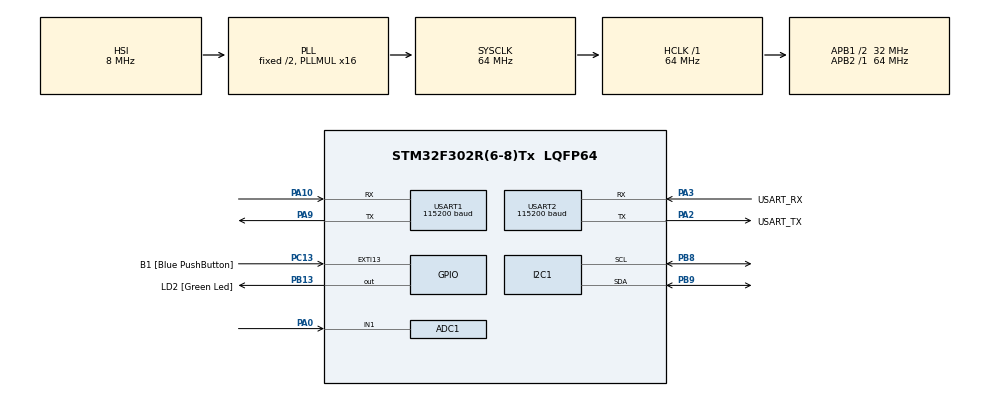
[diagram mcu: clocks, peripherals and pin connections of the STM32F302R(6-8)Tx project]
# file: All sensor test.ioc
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ADC1.Channel-0\#ChannelRegularConversion=ADC_CHANNEL_1
ADC1.NbrOfConversionFlag=1
ADC1.Offset-0\#ChannelRegularConversion=0
ADC1.OffsetNumber-0\#ChannelRegularConversion=ADC_OFFSET_NONE
ADC1.Rank-0\#ChannelRegularConversion=1
ADC1.SamplingTime-0\#ChannelRegularConversion=ADC_SAMPLETIME_1CYCLE_5
ADC1.SamplingTimeOPAMP-0\#ChannelRegularConversion=ADC_SAMPLETIME_61CYCLES_5
ADC1.SubFamily=STM32F302x8
ADC1.master=1
I2C1.Timing=0x00201D2B
Mcu.Family=STM32F3
Mcu.Name=STM32F302R(6-8)Tx
Mcu.Package=LQFP64
NVIC.PriorityGroup=NVIC_PRIORITYGROUP_0
NVIC.USART1_IRQn=true\:0\:0\:false\:false\:true\:true\:true\:true
NVIC.USART2_IRQn=true\:0\:0\:false\:false\:true\:true\:true\:true
PA0.Mode=IN1-Single-Ended
PA0.Signal=ADC1_IN1
PA10.Mode=Asynchronous
PA10.Signal=USART1_RX
PA13.GPIO_Label=TMS
PA13.Mode=Serial_Wire
PA13.Signal=SYS_JTMS-SWDIO
PA14.GPIO_Label=TCK
PA14.Mode=Serial_Wire
PA14.Signal=SYS_JTCK-SWCLK
PA2.GPIO_Label=USART_TX
PA2.GPIO_Mode=GPIO_MODE_AF_PP
PA2.GPIO_PuPd=GPIO_NOPULL
PA2.GPIO_Speed=GPIO_SPEED_FREQ_LOW
PA2.Mode=Asynchronous
PA2.Signal=USART2_TX
PA3.GPIO_Label=USART_RX
PA3.GPIO_Mode=GPIO_MODE_AF_PP
PA3.GPIO_PuPd=GPIO_NOPULL
PA3.GPIO_Speed=GPIO_SPEED_FREQ_LOW
PA3.Mode=Asynchronous
PA3.Signal=USART2_RX
PA9.Mode=Asynchronous
PA9.Signal=USART1_TX
PB13.GPIO_Label=LD2 [Green Led]
PB13.Signal=GPIO_Output
PB3.GPIO_Label=SWO
PB3.Mode=Trace_Asynchronous_SW
PB3.Signal=SYS_JTDO-TRACESWO
PB8.Mode=I2C
PB8.Signal=I2C1_SCL
PB9.Mode=I2C
PB9.Signal=I2C1_SDA
PC13.GPIO_Label=B1 [Blue PushButton]
PC13.GPIO_ModeDefaultEXTI=GPIO_MODE_IT_FALLING
PC13.Signal=GPXTI13
PC14\ -\ OSC32_IN.Mode=LSE-External-Oscillator
PC14\ -\ OSC32_IN.Signal=RCC_OSC32_IN
PC15\ -\ OSC32_OUT.Mode=LSE-External-Oscillator
PC15\ -\ OSC32_OUT.Signal=RCC_OSC32_OUT
PF0-OSC_IN.Mode=HSE-External-Clock-Source
PF0-OSC_IN.Signal=RCC_OSC_IN
PF1-OSC_OUT.Signal=RCC_OSC_OUT
ProjectManager.HeapSize=0x200
ProjectManager.StackSize=0x400
ProjectManager.TargetToolchain=STM32CubeIDE
RCC.AHBFreq_Value=64000000
RCC.APB1CLKDivider=RCC_HCLK_DIV2
RCC.APB1Freq_Value=32000000
RCC.APB1TimFreq_Value=64000000
RCC.APB2Freq_Value=64000000
RCC.APB2TimFreq_Value=64000000
RCC.CortexFreq_Value=64000000
RCC.HCLKFreq_Value=64000000
RCC.HSE_VALUE=8000000
RCC.HSI_VALUE=8000000
RCC.PLLM=8
RCC.PLLMUL=RCC_PLL_MUL16
RCC.PLLN=336
RCC.PLLP=RCC_PLLP_DIV4
RCC.PLLQ=7
RCC.RCC_PLLsource_Clock_Source_FROM_HSE=RCC_HSE_PREDIV_DIV2
RCC.SYSCLKFreq_VALUE=64000000
RCC.SYSCLKSourceVirtual=RCC_SYSCLKSOURCE_PLLCLK
RCC.USBFreq_Value=64000000
USART1.BaudRate=115200
USART1.VirtualMode-Asynchronous=VM_ASYNC
USART2.BaudRate=115200
USART2.VirtualMode-Asynchronous=VM_ASYNC
board=NUCLEO-F302R8

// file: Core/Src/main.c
/* USER CODE BEGIN Header */
/**
  ******************************************************************************
  * @file           : main.c
  * @brief          : RS200 Rain Sensor, BME680 & ADC Wind Sensor Telemetry
  *                   for NUCLEO-F302R8 Board (Modularized)
  ******************************************************************************
  */
/* USER CODE END Header */
#include "main.h"

/* USER CODE BEGIN Includes */
#include <stdio.h>
#include <string.h>
#include "rs200_sensor.h"
#include "bme680_sensor.h"
#include "wind_sensor.h"
/* USER CODE END Includes */

/* USER CODE BEGIN PD */
#define TELEMETRY_BUF_SIZE 256
/* USER CODE END PD */

ADC_HandleTypeDef hadc1;
I2C_HandleTypeDef hi2c1;
UART_HandleTypeDef huart1;
UART_HandleTypeDef huart2;

/* USER CODE BEGIN PV */
char g_telemetry_tx_buf[TELEMETRY_BUF_SIZE];
/* USER CODE END PV */

void SystemClock_Config(void);
static void MX_GPIO_Init(void);
static void MX_I2C1_Init(void);
static void MX_USART1_UART_Init(void);
static void MX_USART2_UART_Init(void);
static void MX_ADC1_Init(void);

/* USER CODE BEGIN PFP */
void Read_Sensors_And_Transmit(void);
/* USER CODE END PFP */

/* USER CODE BEGIN 0 */

/* Read All Sensors and Send Formatted Telemetry Line */
void Read_Sensors_And_Transmit(void) {
    uint8_t n_fields = 0;
    float temp = 0.0f, hum = 0.0f, pres = 0.0f, gas = 0.0f;
    uint8_t bme_valid = 0;

    // Read BME680 via wrapper
    if (g_bme_sensor_ready) {
        bme68x_set_op_mode(BME68X_FORCED_MODE, &bme_dev);
        uint32_t del_period = bme68x_get_meas_dur(BME68X_FORCED_MODE, &bme_conf, &bme_dev) + (bme_heatr_conf.heatr_dur * 1000);
        bme_dev.delay_us(del_period, bme_dev.intf_ptr);

        if (bme68x_get_data(BME68X_FORCED_MODE, &bme_data, &n_fields, &bme_dev) == BME68X_OK && n_fields > 0) {
            temp = bme_data.temperature;
            hum = bme_data.humidity;
            pres = bme_data.pressure / 100.0f;
            gas = bme_data.gas_resistance / 1000.0f;
            bme_valid = 1;
        }
    }

    // Read Wind Speed Sensor from ADC wrapper
    float wind_speed = Read_Wind_Speed(&hadc1);

    // Format Telemetry Line for Raspberry Pi Parser
    snprintf(g_telemetry_tx_buf, sizeof(g_telemetry_tx_buf),
             "BME_VALID:%d,TEMP:%.2f,HUM:%.2f,PRES:%.2f,GAS:%.2f,RAIN_LVL:%u,RAIN_ACT:%u,WIND_SPD:%.2f\r\n",
             bme_valid, temp, hum, pres, gas, rain_sensor.rain_level, rain_sensor.is_raining, wind_speed);

    // Transmit over USART2 (ST-Link USB to Pi)
    HAL_UART_Transmit(&huart2, (uint8_t *)g_telemetry_tx_buf, strlen(g_telemetry_tx_buf), 100);
}
/* USER CODE END 0 */

int main(void)
{

  /* MCU Configuration--------------------------------------------------------*/

  /* Reset of all peripherals, Initializes the Flash interface and the Systick. */
  HAL_Init();

  /* Configure the system clock */
  SystemClock_Config();

  /* Initialize all configured peripherals */
  MX_GPIO_Init();
  MX_I2C1_Init();
  MX_USART1_UART_Init();
  MX_USART2_UART_Init();
  MX_ADC1_Init();

  /* USER CODE BEGIN 2 */
  HAL_NVIC_SetPriorityGrouping(NVIC_PRIORITYGROUP_4);
  HAL_NVIC_SetPriority(USART1_IRQn, 0, 0);
  HAL_NVIC_EnableIRQ(USART1_IRQn);

  if (HAL_ADCEx_Calibration_Start(&hadc1, ADC_SINGLE_ENDED) != HAL_OK)
  {
    Error_Handler();
  }

  Init_BME680(&hi2c1);

  HAL_UART_Receive_IT(&huart1, &rx_byte, 1);
  HAL_Delay(500);
  RS200_Send_Calibration(&huart1);
  /* USER CODE END 2 */

  /* Infinite loop */
  while (1)
  {

    /* USER CODE BEGIN 3 */
    if (packet_ready_flag)
    {
        packet_ready_flag = 0;
        Process_RS200_Packet(rs200_rx_buf);
    }

    Read_Sensors_And_Transmit();
    HAL_GPIO_TogglePin(LD2_GPIO_Port, LD2_Pin);
    HAL_Delay(1000);
  }
  /* USER CODE END 3 */
}

void SystemClock_Config(void)
{
  RCC_OscInitTypeDef RCC_OscInitStruct = {0};
  RCC_ClkInitTypeDef RCC_ClkInitStruct = {0};
  RCC_PeriphCLKInitTypeDef PeriphClkInit = {0};

  RCC_OscInitStruct.OscillatorType = RCC_OSCILLATORTYPE_HSI;
  RCC_OscInitStruct.HSIState = RCC_HSI_ON;
  RCC_OscInitStruct.HSICalibrationValue = RCC_HSICALIBRATION_DEFAULT;
  RCC_OscInitStruct.PLL.PLLState = RCC_PLL_ON;
  RCC_OscInitStruct.PLL.PLLSource = RCC_PLLSOURCE_HSI;
  RCC_OscInitStruct.PLL.PLLMUL = RCC_PLL_MUL16;
  if (HAL_RCC_OscConfig(&RCC_OscInitStruct) != HAL_OK)
  {
    Error_Handler();
  }

  RCC_ClkInitStruct.ClockType = RCC_CLOCKTYPE_HCLK|RCC_CLOCKTYPE_SYSCLK
                              |RCC_CLOCKTYPE_PCLK1|RCC_CLOCKTYPE_PCLK2;
  RCC_ClkInitStruct.SYSCLKSource = RCC_SYSCLKSOURCE_PLLCLK;
  RCC_ClkInitStruct.AHBCLKDivider = RCC_SYSCLK_DIV1;
  RCC_ClkInitStruct.APB1CLKDivider = RCC_HCLK_DIV2;
  RCC_ClkInitStruct.APB2CLKDivider = RCC_HCLK_DIV1;

  if (HAL_RCC_ClockConfig(&RCC_ClkInitStruct, FLASH_LATENCY_2) != HAL_OK)
  {
    Error_Handler();
  }
  PeriphClkInit.PeriphClockSelection = RCC_PERIPHCLK_USART1|RCC_PERIPHCLK_I2C1
                              |RCC_PERIPHCLK_ADC1;
  PeriphClkInit.Usart1ClockSelection = RCC_USART1CLKSOURCE_PCLK1;
  PeriphClkInit.I2c1ClockSelection = RCC_I2C1CLKSOURCE_HSI;
  PeriphClkInit.Adc1ClockSelection = RCC_ADC1PLLCLK_DIV1;

  if (HAL_RCCEx_PeriphCLKConfig(&PeriphClkInit) != HAL_OK)
  {
    Error_Handler();
  }
}

static void MX_ADC1_Init(void)
{
  ADC_ChannelConfTypeDef sConfig = {0};

  hadc1.Instance = ADC1;
  hadc1.Init.ClockPrescaler = ADC_CLOCK_ASYNC_DIV1;
  hadc1.Init.Resolution = ADC_RESOLUTION_12B;
  hadc1.Init.ScanConvMode = ADC_SCAN_DISABLE;
  hadc1.Init.ContinuousConvMode = DISABLE;
  hadc1.Init.DiscontinuousConvMode = DISABLE;
  hadc1.Init.ExternalTrigConvEdge = ADC_EXTERNALTRIGCONVEDGE_NONE;
  hadc1.Init.ExternalTrigConv = ADC_SOFTWARE_START;
  hadc1.Init.DataAlign = ADC_DATAALIGN_RIGHT;
  hadc1.Init.NbrOfConversion = 1;
  hadc1.Init.DMAContinuousRequests = DISABLE;
  hadc1.Init.EOCSelection = ADC_EOC_SINGLE_CONV;
  hadc1.Init.LowPowerAutoWait = DISABLE;
  hadc1.Init.Overrun = ADC_OVR_DATA_OVERWRITTEN;
  if (HAL_ADC_Init(&hadc1) != HAL_OK)
  {
    Error_Handler();
  }

  sConfig.Channel = ADC_CHANNEL_1;
  sConfig.Rank = ADC_REGULAR_RANK_1;
  sConfig.SingleDiff = ADC_SINGLE_ENDED;
  sConfig.SamplingTime = ADC_SAMPLETIME_61CYCLES_5;
  sConfig.OffsetNumber = ADC_OFFSET_NONE;
  sConfig.Offset = 0;
  if (HAL_ADC_ConfigChannel(&hadc1, &sConfig) != HAL_OK)
  {
    Error_Handler();
  }
}

static void MX_I2C1_Init(void)
{
  hi2c1.Instance = I2C1;
  hi2c1.Init.Timing = 0x00303D5B;
  hi2c1.Init.OwnAddress1 = 0;
  hi2c1.Init.AddressingMode = I2C_ADDRESSINGMODE_7BIT;
  hi2c1.Init.DualAddressMode = I2C_DUALADDRESS_DISABLE;
  hi2c1.Init.OwnAddress2 = 0;
  hi2c1.Init.OwnAddress2Masks = I2C_OA2_NOMASK;
  hi2c1.Init.GeneralCallMode = I2C_GENERALCALL_DISABLE;
  hi2c1.Init.NoStretchMode = I2C_NOSTRETCH_DISABLE;
  if (HAL_I2C_Init(&hi2c1) != HAL_OK)
  {
    Error_Handler();
  }

  if (HAL_I2CEx_ConfigAnalogFilter(&hi2c1, I2C_ANALOGFILTER_ENABLE) != HAL_OK)
  {
    Error_Handler();
  }

  if (HAL_I2CEx_ConfigDigitalFilter(&hi2c1, 0) != HAL_OK)
  {
    Error_Handler();
  }
}

static void MX_USART1_UART_Init(void)
{
  huart1.Instance = USART1;
  huart1.Init.BaudRate = 115200;
  huart1.Init.WordLength = UART_WORDLENGTH_8B;
  huart1.Init.StopBits = UART_STOPBITS_1;
  huart1.Init.Parity = UART_PARITY_NONE;
  huart1.Init.Mode = UART_MODE_TX_RX;
  huart1.Init.HwFlowCtl = UART_HWCONTROL_NONE;
  huart1.Init.OverSampling = UART_OVERSAMPLING_16;
  huart1.Init.OneBitSampling = UART_ONE_BIT_SAMPLE_DISABLE;
  huart1.AdvancedInit.AdvFeatureInit = UART_ADVFEATURE_NO_INIT;
  if (HAL_UART_Init(&huart1) != HAL_OK)
  {
    Error_Handler();
  }
}

static void MX_USART2_UART_Init(void)
{
  huart2.Instance = USART2;
  huart2.Init.BaudRate = 115200;
  huart2.Init.WordLength = UART_WORDLENGTH_8B;
  huart2.Init.StopBits = UART_STOPBITS_1;
  huart2.Init.Parity = UART_PARITY_NONE;
  huart2.Init.Mode = UART_MODE_TX_RX;
  huart2.Init.HwFlowCtl = UART_HWCONTROL_NONE;
  huart2.Init.OverSampling = UART_OVERSAMPLING_16;
  huart2.Init.OneBitSampling = UART_ONE_BIT_SAMPLE_DISABLE;
  huart2.AdvancedInit.AdvFeatureInit = UART_ADVFEATURE_NO_INIT;
  if (HAL_UART_Init(&huart2) != HAL_OK)
  {
    Error_Handler();
  }
}

static void MX_GPIO_Init(void)
{
  GPIO_InitTypeDef GPIO_InitStruct = {0};

  __HAL_RCC_GPIOC_CLK_ENABLE();
  __HAL_RCC_GPIOF_CLK_ENABLE();
  __HAL_RCC_GPIOA_CLK_ENABLE();
  __HAL_RCC_GPIOB_CLK_ENABLE();

  HAL_GPIO_WritePin(LD2_GPIO_Port, LD2_Pin, GPIO_PIN_RESET);

  GPIO_InitStruct.Pin = GPIO_PIN_0;
  GPIO_InitStruct.Mode = GPIO_MODE_ANALOG;
  GPIO_InitStruct.Pull = GPIO_NOPULL;
  HAL_GPIO_Init(GPIOA, &GPIO_InitStruct);

  GPIO_InitStruct.Pin = B1_Pin;
  GPIO_InitStruct.Mode = GPIO_MODE_IT_FALLING;
  GPIO_InitStruct.Pull = GPIO_NOPULL;
  HAL_GPIO_Init(B1_GPIO_Port, &GPIO_InitStruct);

  GPIO_InitStruct.Pin = LD2_Pin;
  GPIO_InitStruct.Mode = GPIO_MODE_OUTPUT_PP;
  GPIO_InitStruct.Pull = GPIO_NOPULL;
  GPIO_InitStruct.Speed = GPIO_SPEED_FREQ_LOW;
  HAL_GPIO_Init(LD2_GPIO_Port, &GPIO_InitStruct);
}

void Error_Handler(void)
{
  __disable_irq();
  while (1)
  {
  }
}
